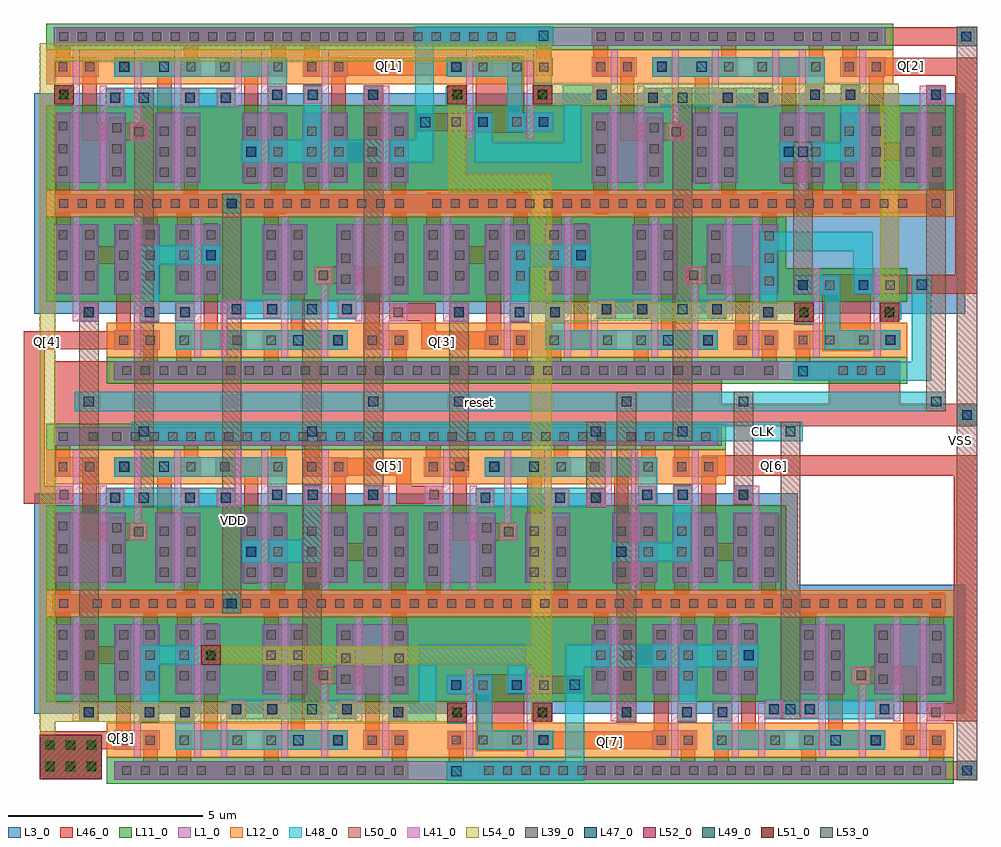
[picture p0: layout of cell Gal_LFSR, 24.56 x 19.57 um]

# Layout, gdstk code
import gdstk
lib = gdstk.Library(unit=1e-6, precision=1e-09)
def R(c, l, rs):  # rectangles x0, y0, x1, y1
    for r in rs: c.add(gdstk.rectangle(r[:2], r[2:], *l))
def A(c, l, x, y, w, h, nx, ny, dx, dy):  # array of equal rectangles
    R(c, l, [(x+i*dx, y+j*dy, x+i*dx+w, y+j*dy+h) for i in range(nx) for j in range(ny)])
def P(c, l, *ps):  # polygons
    for p in ps: c.add(gdstk.Polygon(p, *l))
L1_0 = (1, 0)
L3_0 = (3, 0)
L11_0 = (11, 0)
L12_0 = (12, 0)
L39_0 = (39, 0)
L41_0 = (41, 0)
L46_0 = (46, 0)
L47_0 = (47, 0)
L48_0 = (48, 0)
L49_0 = (49, 0)
L50_0 = (50, 0)
L51_0 = (51, 0)
L52_0 = (52, 0)
L53_0 = (53, 0)
L54_0 = (54, 0)

gal_lfsr = lib.new_cell('Gal_LFSR')
A(gal_lfsr, L1_0, -7.53, 1.21, 1.16, 1.8, 3, 2, 1.56, 10.3)
A(gal_lfsr, L1_0, 6.315, 1.21, 1.16, 1.8, 3, 1, 1.56, 0)
A(gal_lfsr, L1_0, -2.685, 4.08, 1.16, 1.8, 3, 2, 1.56, 10.3)
A(gal_lfsr, L1_0, 6.845, 4.08, 1.16, 1.8, 3, 1, 1.56, 0)
A(gal_lfsr, L1_0, 2, 11.51, 1.16, 1.8, 3, 1, 1.56, 0)
A(gal_lfsr, L1_0, 11.16, 14.38, 1.16, 1.8, 3, 1, 1.56, 0)
R(gal_lfsr, L1_0, [(-5.97,-0.99,-4.81,-0.52), (-5.485,-0.99,1.595,-0.52), (1.575,-0.99,7.965,-0.52), (7.875,-0.99,9.035,-0.52), (8.36,-0.99,15.44,-0.52), (-5.97,-0.22,-4.81,0.28), (-4.41,-0.22,-3,0.28), (-4.125,-0.22,-2.57,0.28), (-2.17,-0.22,-0.865,0.28), (-1.225,-0.22,0.02,0.28), (0.435,-0.22,1.595,0.28), (7.875,-0.22,9.035,0.28), (9.435,-0.22,10.845,0.28), (9.72,-0.22,11.275,0.28), (11.675,-0.22,12.98,0.28), (12.62,-0.22,13.865,0.28), (14.28,-0.22,15.44,0.28), (2.595,-0.205,3.755,0.265), (4.155,-0.205,5.315,0.265), (-2.17,1.21,-1.01,3.01), (-0.255,1.21,1.595,3.01), (2.595,1.21,3.755,1.68), (4.155,1.21,5.315,1.68), (11.675,1.21,12.835,3.01), (13.59,1.21,15.44,3.01), (-7.53,3.31,-6.37,3.78), (-7.445,3.31,-4.81,3.78), (-5.39,3.31,-3.25,3.78), (-4.41,3.31,1.595,3.78), (-2.17,3.31,-1.01,3.78), (1.565,3.31,7.475,3.78), (6.4,3.31,9.035,3.78), (8.455,3.31,10.595,3.78), (9.435,3.31,15.44,3.78), (11.675,3.31,12.835,3.78), (-7.53,4.08,-5.68,5.88), (-4.925,4.08,-3.765,5.88), (2,4.08,3.85,5.88), (4.605,4.08,5.765,5.88), (-7.53,6.81,-6.37,7.31), (-5.955,6.81,-4.71,7.31), (-5.07,6.81,-3.765,7.31), (-3.365,6.81,-1.81,7.31), (-2.935,6.81,-1.525,7.31), (-1.125,6.81,0.035,7.31), (2,6.81,3.16,7.31), (3.575,6.81,4.82,7.31), (4.46,6.81,5.765,7.31), (6.165,6.81,7.72,7.31), (6.595,6.81,8.005,7.31), (8.405,6.81,9.565,7.31), (-7.525,7.61,2.02,8.08), (-1.125,7.61,0.035,8.08), (2,7.61,9.08,8.08), (8.405,7.61,9.565,8.08), (-5.97,9.31,-4.81,9.78), (-5.485,9.31,1.595,9.78), (1.575,9.31,7.965,9.78), (3.56,9.31,4.72,9.78), (4.045,9.31,14.26,9.78), (-5.97,10.08,-4.81,10.58), (-4.41,10.08,-3,10.58), (-4.125,10.08,-2.57,10.58), (-2.17,10.08,-0.865,10.58), (-1.225,10.08,0.02,10.58), (0.435,10.08,1.595,10.58), (3.56,10.08,4.72,10.58), (5.12,10.08,6.53,10.58), (5.405,10.08,6.96,10.58), (7.36,10.08,8.665,10.58), (8.305,10.08,9.55,10.58), (9.965,10.08,11.125,10.58), (11.525,10.095,12.685,10.565), (13.085,10.095,14.245,10.565), (-2.17,11.51,-1.01,13.31), (-0.255,11.51,1.595,13.31), (7.36,11.51,8.52,13.31), (9.275,11.51,11.125,13.31), (11.525,11.51,12.685,11.98), (13.085,11.51,14.245,11.98), (-7.53,13.61,-1.525,14.08), (-4.925,13.61,-3.765,14.08), (-2.685,13.61,-0.545,14.08), (-1.125,13.61,1.51,14.08), (0.435,13.61,6.345,14.08), (2,13.61,8.005,14.08), (4.605,13.61,5.765,14.08), (6.845,13.61,8.985,14.08), (8.405,13.61,15.355,14.08), (9.965,13.61,15.44,14.08), (-7.53,14.38,-5.68,16.18), (-4.925,14.38,-3.765,16.18), (6.315,14.38,8.165,16.18), (8.92,14.38,10.08,16.18), (2.595,15.71,3.755,16.18), (4.155,15.71,5.315,16.18), (-7.53,17.11,-6.37,17.61), (-5.955,17.11,-4.71,17.61), (-5.07,17.11,-3.765,17.61), (-3.365,17.11,-1.81,17.61), (-2.935,17.11,-1.525,17.61), (-1.125,17.11,0.035,17.61), (6.315,17.11,7.475,17.61), (7.89,17.11,9.135,17.61), (8.775,17.11,10.08,17.61), (10.48,17.11,12.035,17.61), (10.91,17.11,12.32,17.61), (12.72,17.11,13.88,17.61), (2.595,17.125,3.755,17.595), (4.155,17.125,5.315,17.595), (-7.53,17.91,-0.45,18.38), (-1.125,17.91,0.035,18.38), (-0.055,17.91,6.335,18.38), (6.315,17.91,13.395,18.38), (12.72,17.91,13.88,18.38)])
R(gal_lfsr, L3_0, [(-8.03,0.71,-5.87,4.03), (-6.47,0.71,-4.31,4.03), (-6.275,0.71,2.095,4.03), (-0.8,0.71,-0.425,4.03), (2.095,0.71,5.815,4.03), (5.815,0.71,7.975,4.03), (7.06,0.71,15.94,4.03), (13.045,0.71,13.42,4.03), (-8.03,3.06,-3.78,6.38), (-4.38,3.06,-2.22,6.38), (-2.22,3.06,1.5,6.38), (1.5,3.06,9.87,6.38), (4.02,3.06,4.395,6.38), (7.905,3.06,10.065,6.38), (9.465,3.06,11.625,6.38), (-8.03,11.01,-5.87,14.33), (-6.47,11.01,-4.31,14.33), (-6.275,11.01,2.095,14.33), (-0.8,11.01,-0.425,14.33), (2.095,11.01,5.815,14.33), (5.815,11.01,7.975,14.33), (7.375,11.01,9.535,14.33), (7.57,11.01,15.94,14.33), (13.045,11.01,13.42,14.33), (-8.03,13.36,0.34,16.68), (-5.51,13.36,-5.135,16.68), (-1.625,13.36,0.535,16.68), (-0.065,13.36,2.095,16.68), (2.095,13.36,5.815,16.68), (5.815,13.36,14.185,16.68), (8.335,13.36,8.71,16.68), (12.22,13.36,14.38,16.68), (13.78,13.36,15.94,16.68)])
R(gal_lfsr, L11_0, [(-6.17,-1.09,-4.61,-0.42), (-4.61,-1.09,1.795,-0.42), (1.71,-1.09,7.79,-0.42), (7.675,-1.09,9.235,-0.42), (9.235,-1.09,15.64,-0.42), (-7.73,1.01,-6.17,3.21), (-6.17,1.01,-4.61,3.21), (-4.61,1.01,-2.69,3.21), (-2.805,1.01,1.795,3.21), (1.75,1.01,7.675,3.21), (2.395,1.01,5.515,1.88), (7.675,1.01,9.235,3.21), (9.235,1.01,11.155,3.21), (11.04,1.01,15.64,3.21), (-7.73,3.88,-3.13,6.08), (-3.245,3.88,-1.325,6.08), (-1.325,3.88,0.235,6.08), (0.235,3.88,2.485,6.08), (1.8,3.88,6.4,6.08), (6.285,3.88,8.205,6.08), (8.205,3.88,9.765,6.08), (9.765,3.88,11.325,6.08), (-7.73,7.51,1.87,8.18), (-1.325,7.51,0.235,8.18), (1.8,7.51,8.205,8.18), (8.205,7.51,9.765,8.18), (-6.17,9.21,-4.61,9.88), (-4.61,9.21,1.795,9.88), (1.71,9.21,7.79,9.88), (3.36,9.21,4.92,9.88), (4.92,9.21,14.445,9.88), (12.115,9.21,13.675,9.88), (-7.73,11.31,-6.17,13.51), (-6.17,11.31,-4.61,13.51), (-4.61,11.31,-2.69,13.51), (-2.805,11.31,1.795,13.51), (1.11,11.31,3.36,13.51), (3.36,11.31,4.92,13.51), (4.92,11.31,6.84,13.51), (6.725,11.31,11.325,13.51), (11.325,11.31,12.885,12.18), (12.885,11.31,14.445,12.18), (-7.73,14.18,-3.13,16.38), (-3.245,14.18,-1.325,16.38), (-1.325,14.18,0.235,16.38), (0.235,14.18,6.16,16.38), (6.115,14.18,10.715,16.38), (10.6,14.18,12.52,16.38), (12.52,14.18,14.08,16.38), (14.08,14.18,15.64,16.38), (2.395,15.51,5.515,16.38), (-7.73,17.81,-1.325,18.48), (-1.325,17.81,0.235,18.48), (0.12,17.81,6.2,18.48), (6.115,17.81,12.52,18.48), (12.52,17.81,14.08,18.48)])
R(gal_lfsr, L12_0, [(-6.17,-0.42,-4.61,0.48), (-4.61,-0.42,-4.325,0.48), (-4.61,-0.42,1.795,0.48), (-4.61,-0.42,-0.665,0.48), (-4.61,-0.42,-2.8,0.48), (1.66,-0.42,7.86,0.48), (7.675,-0.42,9.235,0.48), (9.235,-0.42,9.52,0.48), (9.235,-0.42,15.64,0.48), (9.235,-0.42,13.18,0.48), (9.235,-0.42,11.045,0.48), (-7.73,3.21,-6.17,3.88), (-6.17,3.21,-4.61,3.88), (-4.61,3.21,-2.69,3.88), (-2.8,3.21,1.795,3.88), (1.72,3.21,7.675,3.88), (7.675,3.21,9.235,3.88), (9.235,3.21,11.155,3.88), (11.045,3.21,15.64,3.88), (-7.73,6.61,-1.325,7.51), (-5.27,6.61,-1.325,7.51), (-4.265,6.61,1.935,7.51), (-3.135,6.61,-1.325,7.51), (-1.61,6.61,-1.325,7.51), (-1.325,6.61,0.235,7.51), (1.8,6.61,8.205,7.51), (4.26,6.61,8.205,7.51), (6.395,6.61,8.205,7.51), (7.92,6.61,8.205,7.51), (8.205,6.61,9.765,7.51), (-6.17,9.88,-4.61,10.78), (-4.61,9.88,-4.325,10.78), (-4.61,9.88,1.795,10.78), (-4.61,9.88,-0.665,10.78), (-4.61,9.88,-2.8,10.78), (1.66,9.88,7.86,10.78), (3.36,9.88,4.92,10.78), (4.92,9.88,5.205,10.78), (4.92,9.88,11.325,10.78), (4.92,9.88,8.865,10.78), (4.92,9.88,6.73,10.78), (11.325,9.88,12.885,10.78), (12.885,9.88,14.445,10.78), (-7.73,13.51,-3.135,14.18), (-3.245,13.51,-1.325,14.18), (-1.325,13.51,0.235,14.18), (0.235,13.51,6.19,14.18), (1.8,13.51,6.395,14.18), (6.285,13.51,8.205,14.18), (8.205,13.51,9.765,14.18), (9.765,13.51,15.64,14.18), (-7.73,16.91,-1.325,17.81), (-5.27,16.91,-1.325,17.81), (-3.135,16.91,-1.325,17.81), (-1.61,16.91,-1.325,17.81), (-1.325,16.91,0.235,17.81), (0.05,16.91,6.25,17.81), (6.115,16.91,12.52,17.81), (8.575,16.91,12.52,17.81), (10.71,16.91,12.52,17.81), (12.235,16.91,12.52,17.81), (12.52,16.91,14.08,17.81)])
A(gal_lfsr, L39_0, -5.77, -0.87, 0.23, 0.23, 5, 2, 0.48, 10.3)
A(gal_lfsr, L39_0, -3.09, -0.87, 0.23, 0.23, 10, 1, 0.48, 0)
A(gal_lfsr, L39_0, 3.555, -0.87, 0.23, 0.23, 25, 1, 0.48, 0)
A(gal_lfsr, L39_0, -7.41, 1.575, 0.23, 0.23, 1, 3, 0, 0.525)
A(gal_lfsr, L39_0, -6.72, 1.575, 0.23, 0.23, 1, 3, 0, 0.525)
A(gal_lfsr, L39_0, -5.85, 1.575, 0.23, 0.23, 1, 3, 0, 0.525)
A(gal_lfsr, L39_0, -5.16, 1.575, 0.23, 0.23, 1, 3, 0, 0.525)
A(gal_lfsr, L39_0, -4.29, 1.575, 0.23, 0.23, 1, 3, 0, 0.525)
A(gal_lfsr, L39_0, -3.6, 1.575, 0.23, 0.23, 1, 3, 0, 0.525)
A(gal_lfsr, L39_0, -2.05, 1.575, 0.23, 0.23, 1, 3, 0, 0.525)
A(gal_lfsr, L39_0, -1.36, 1.575, 0.23, 0.23, 1, 3, 0, 0.525)
A(gal_lfsr, L39_0, 6.435, 1.575, 0.23, 0.23, 1, 3, 0, 0.525)
A(gal_lfsr, L39_0, 7.125, 1.575, 0.23, 0.23, 1, 3, 0, 0.525)
A(gal_lfsr, L39_0, 7.995, 1.575, 0.23, 0.23, 1, 3, 0, 0.525)
A(gal_lfsr, L39_0, 8.685, 1.575, 0.23, 0.23, 1, 3, 0, 0.525)
A(gal_lfsr, L39_0, 9.555, 1.575, 0.23, 0.23, 1, 3, 0, 0.525)
A(gal_lfsr, L39_0, 10.245, 1.575, 0.23, 0.23, 1, 3, 0, 0.525)
A(gal_lfsr, L39_0, 11.795, 1.575, 0.23, 0.23, 1, 3, 0, 0.525)
A(gal_lfsr, L39_0, 12.485, 1.575, 0.23, 0.23, 1, 3, 0, 0.525)
A(gal_lfsr, L39_0, -6.525, 3.43, 0.23, 0.23, 46, 1, 0.48, 0)
A(gal_lfsr, L39_0, -4.805, 4.235, 0.23, 0.23, 1, 3, 0, 0.525)
A(gal_lfsr, L39_0, -4.115, 4.235, 0.23, 0.23, 1, 3, 0, 0.525)
A(gal_lfsr, L39_0, -2.565, 4.235, 0.23, 0.23, 1, 3, 0, 0.525)
A(gal_lfsr, L39_0, -1.875, 4.235, 0.23, 0.23, 1, 3, 0, 0.525)
A(gal_lfsr, L39_0, -1.005, 4.235, 0.23, 0.23, 1, 3, 0, 0.525)
A(gal_lfsr, L39_0, -0.315, 4.235, 0.23, 0.23, 1, 3, 0, 0.525)
A(gal_lfsr, L39_0, 0.555, 4.235, 0.23, 0.23, 1, 3, 0, 0.525)
A(gal_lfsr, L39_0, 1.245, 4.235, 0.23, 0.23, 1, 3, 0, 0.525)
A(gal_lfsr, L39_0, 4.725, 4.235, 0.23, 0.23, 1, 3, 0, 0.525)
A(gal_lfsr, L39_0, 5.415, 4.235, 0.23, 0.23, 1, 3, 0, 0.525)
A(gal_lfsr, L39_0, 6.965, 4.235, 0.23, 0.23, 1, 3, 0, 0.525)
A(gal_lfsr, L39_0, 7.655, 4.235, 0.23, 0.23, 1, 3, 0, 0.525)
A(gal_lfsr, L39_0, 8.525, 4.235, 0.23, 0.23, 1, 3, 0, 0.525)
A(gal_lfsr, L39_0, 9.215, 4.235, 0.23, 0.23, 1, 3, 0, 0.525)
A(gal_lfsr, L39_0, 10.085, 4.235, 0.23, 0.23, 1, 3, 0, 0.525)
A(gal_lfsr, L39_0, 10.775, 4.235, 0.23, 0.23, 1, 3, 0, 0.525)
A(gal_lfsr, L39_0, -6.025, 7.73, 0.23, 0.23, 27, 1, 0.48, 0)
A(gal_lfsr, L39_0, 7.215, 7.73, 0.23, 0.23, 3, 1, 0.48, 0)
A(gal_lfsr, L39_0, -3.09, 9.43, 0.23, 0.23, 27, 1, 0.48, 0)
A(gal_lfsr, L39_0, 12.68, 9.43, 0.23, 0.23, 3, 1, 0.48, 0)
A(gal_lfsr, L39_0, -7.41, 11.875, 0.23, 0.23, 1, 3, 0, 0.525)
A(gal_lfsr, L39_0, -6.72, 11.875, 0.23, 0.23, 1, 3, 0, 0.525)
A(gal_lfsr, L39_0, -5.85, 11.875, 0.23, 0.23, 1, 3, 0, 0.525)
A(gal_lfsr, L39_0, -5.16, 11.875, 0.23, 0.23, 1, 3, 0, 0.525)
A(gal_lfsr, L39_0, -4.29, 11.875, 0.23, 0.23, 1, 3, 0, 0.525)
A(gal_lfsr, L39_0, -3.6, 11.875, 0.23, 0.23, 1, 3, 0, 0.525)
A(gal_lfsr, L39_0, -2.05, 11.875, 0.23, 0.23, 1, 3, 0, 0.525)
A(gal_lfsr, L39_0, -1.36, 11.875, 0.23, 0.23, 1, 3, 0, 0.525)
A(gal_lfsr, L39_0, 2.12, 11.875, 0.23, 0.23, 1, 3, 0, 0.525)
A(gal_lfsr, L39_0, 2.81, 11.875, 0.23, 0.23, 1, 3, 0, 0.525)
A(gal_lfsr, L39_0, 3.68, 11.875, 0.23, 0.23, 1, 3, 0, 0.525)
A(gal_lfsr, L39_0, 4.37, 11.875, 0.23, 0.23, 1, 3, 0, 0.525)
A(gal_lfsr, L39_0, 5.24, 11.875, 0.23, 0.23, 1, 3, 0, 0.525)
A(gal_lfsr, L39_0, 5.93, 11.875, 0.23, 0.23, 1, 3, 0, 0.525)
A(gal_lfsr, L39_0, 7.48, 11.875, 0.23, 0.23, 1, 3, 0, 0.525)
A(gal_lfsr, L39_0, 8.17, 11.875, 0.23, 0.23, 1, 3, 0, 0.525)
A(gal_lfsr, L39_0, -7.395, 13.73, 0.23, 0.23, 19, 1, 0.48, 0)
A(gal_lfsr, L39_0, 2.21, 13.73, 0.23, 0.23, 26, 1, 0.48, 0)
A(gal_lfsr, L39_0, -4.805, 14.535, 0.23, 0.23, 1, 3, 0, 0.525)
A(gal_lfsr, L39_0, -4.115, 14.535, 0.23, 0.23, 1, 3, 0, 0.525)
A(gal_lfsr, L39_0, -2.565, 14.535, 0.23, 0.23, 1, 3, 0, 0.525)
A(gal_lfsr, L39_0, -1.875, 14.535, 0.23, 0.23, 1, 3, 0, 0.525)
A(gal_lfsr, L39_0, -1.005, 14.535, 0.23, 0.23, 1, 3, 0, 0.525)
A(gal_lfsr, L39_0, -0.315, 14.535, 0.23, 0.23, 1, 3, 0, 0.525)
A(gal_lfsr, L39_0, 0.555, 14.535, 0.23, 0.23, 1, 3, 0, 0.525)
A(gal_lfsr, L39_0, 1.245, 14.535, 0.23, 0.23, 1, 3, 0, 0.525)
A(gal_lfsr, L39_0, 9.04, 14.535, 0.23, 0.23, 1, 3, 0, 0.525)
A(gal_lfsr, L39_0, 9.73, 14.535, 0.23, 0.23, 1, 3, 0, 0.525)
A(gal_lfsr, L39_0, 11.28, 14.535, 0.23, 0.23, 1, 3, 0, 0.525)
A(gal_lfsr, L39_0, 11.97, 14.535, 0.23, 0.23, 1, 3, 0, 0.525)
A(gal_lfsr, L39_0, 12.84, 14.535, 0.23, 0.23, 1, 3, 0, 0.525)
A(gal_lfsr, L39_0, 13.53, 14.535, 0.23, 0.23, 1, 3, 0, 0.525)
A(gal_lfsr, L39_0, 14.4, 14.535, 0.23, 0.23, 1, 3, 0, 0.525)
A(gal_lfsr, L39_0, 15.09, 14.535, 0.23, 0.23, 1, 3, 0, 0.525)
A(gal_lfsr, L39_0, -7.395, 18.03, 0.23, 0.23, 25, 1, 0.48, 0)
A(gal_lfsr, L39_0, 6.45, 18.03, 0.23, 0.23, 10, 1, 0.48, 0)
A(gal_lfsr, L39_0, 11.53, 18.03, 0.23, 0.23, 5, 1, 0.48, 0)
R(gal_lfsr, L39_0, [(-5.85,-0.09,-5.62,0.14), (-5.16,-0.09,-4.93,0.14), (-4.29,-0.09,-4.06,0.14), (-2.92,-0.09,-2.69,0.14), (-2.05,-0.09,-1.82,0.14), (-0.33,-0.09,-0.1,0.14), (0.555,-0.09,0.785,0.14), (1.245,-0.09,1.475,0.14), (7.995,-0.09,8.225,0.14), (8.685,-0.09,8.915,0.14), (9.555,-0.09,9.785,0.14), (10.925,-0.09,11.155,0.14), (11.795,-0.09,12.025,0.14), (13.515,-0.09,13.745,0.14), (14.4,-0.09,14.63,0.14), (15.09,-0.09,15.32,0.14), (2.715,-0.085,2.945,0.145), (3.405,-0.085,3.635,0.145), (4.275,-0.085,4.505,0.145), (4.965,-0.085,5.195,0.145), (2.735,0.625,2.965,0.855), (-6.745,0.63,-6.515,0.86), (-5.185,0.63,-4.955,0.86), (-4.27,0.63,-4.04,0.86), (1.22,0.63,1.45,0.86), (4.94,0.63,5.17,0.86), (7.1,0.63,7.33,0.86), (8.66,0.63,8.89,0.86), (9.575,0.63,9.805,0.86), (15.065,0.63,15.295,0.86), (-2.945,0.705,-2.715,0.935), (-2.025,0.705,-1.795,0.935), (-0.1,0.705,0.13,0.935), (10.9,0.705,11.13,0.935), (11.82,0.705,12.05,0.935), (13.745,0.705,13.975,0.935), (2.715,1.33,2.945,1.56), (3.405,1.33,3.635,1.56), (4.275,1.33,4.505,1.56), (4.965,1.33,5.195,1.56), (1.245,1.435,1.475,1.665), (15.09,1.435,15.32,1.665), (-0.135,1.48,0.095,1.71), (13.71,1.48,13.94,1.71), (-0.705,1.58,-0.475,1.81), (13.14,1.58,13.37,1.81), (1.245,2.015,1.475,2.245), (15.09,2.015,15.32,2.245), (-0.135,2.025,0.095,2.255), (13.71,2.025,13.94,2.255), (1.245,2.6,1.475,2.83), (15.09,2.6,15.32,2.83), (-0.135,2.61,0.095,2.84), (13.71,2.61,13.94,2.84), (-7.39,3.43,-7.16,3.66), (-6.03,4.25,-5.8,4.48), (3.5,4.25,3.73,4.48), (-7.41,4.26,-7.18,4.49), (2.12,4.26,2.35,4.49), (-6.03,4.835,-5.8,5.065), (3.5,4.835,3.73,5.065), (-7.41,4.845,-7.18,5.075), (2.12,4.845,2.35,5.075), (-5.46,5.28,-5.23,5.51), (4.07,5.28,4.3,5.51), (-6.03,5.38,-5.8,5.61), (3.5,5.38,3.73,5.61), (-7.41,5.425,-7.18,5.655), (2.12,5.425,2.35,5.655), (-6.065,6.155,-5.835,6.385), (-4.14,6.155,-3.91,6.385), (-3.22,6.155,-2.99,6.385), (3.465,6.155,3.695,6.385), (5.39,6.155,5.62,6.385), (6.31,6.155,6.54,6.385), (-7.385,6.23,-7.155,6.46), (-1.895,6.23,-1.665,6.46), (-0.98,6.23,-0.75,6.46), (0.58,6.23,0.81,6.46), (2.145,6.23,2.375,6.46), (7.635,6.23,7.865,6.46), (8.55,6.23,8.78,6.46), (10.11,6.23,10.34,6.46), (-7.41,6.95,-7.18,7.18), (-6.72,6.95,-6.49,7.18), (-5.835,6.95,-5.605,7.18), (-4.115,6.95,-3.885,7.18), (-3.245,6.95,-3.015,7.18), (-1.875,6.95,-1.645,7.18), (-1.005,6.95,-0.775,7.18), (-0.315,6.95,-0.085,7.18), (2.12,6.95,2.35,7.18), (2.81,6.95,3.04,7.18), (3.695,6.95,3.925,7.18), (5.415,6.95,5.645,7.18), (6.285,6.95,6.515,7.18), (7.655,6.95,7.885,7.18), (8.525,6.95,8.755,7.18), (9.215,6.95,9.445,7.18), (-7.4,7.73,-7.17,7.96), (-6.63,7.73,-6.4,7.96), (9.135,7.73,9.365,7.96), (9.995,9.43,10.225,9.66), (10.765,9.43,10.995,9.66), (-5.85,10.21,-5.62,10.44), (-5.16,10.21,-4.93,10.44), (-4.29,10.21,-4.06,10.44), (-2.92,10.21,-2.69,10.44), (-2.05,10.21,-1.82,10.44), (-0.33,10.21,-0.1,10.44), (0.555,10.21,0.785,10.44), (1.245,10.21,1.475,10.44), (3.68,10.21,3.91,10.44), (4.37,10.21,4.6,10.44), (5.24,10.21,5.47,10.44), (6.61,10.21,6.84,10.44), (7.48,10.21,7.71,10.44), (9.2,10.21,9.43,10.44), (10.085,10.21,10.315,10.44), (10.775,10.21,11.005,10.44), (11.645,10.215,11.875,10.445), (12.335,10.215,12.565,10.445), (13.205,10.215,13.435,10.445), (13.895,10.215,14.125,10.445), (-6.745,10.93,-6.515,11.16), (-5.185,10.93,-4.955,11.16), (-4.27,10.93,-4.04,11.16), (1.22,10.93,1.45,11.16), (2.785,10.93,3.015,11.16), (4.345,10.93,4.575,11.16), (5.26,10.93,5.49,11.16), (10.75,10.93,10.98,11.16), (11.67,10.93,11.9,11.16), (11.67,10.93,11.9,11.16), (11.67,10.93,11.9,11.16), (13.87,10.93,14.1,11.16), (13.87,10.93,14.1,11.16), (13.87,10.93,14.1,11.16), (-2.945,11.005,-2.715,11.235), (-2.025,11.005,-1.795,11.235), (-0.1,11.005,0.13,11.235), (6.585,11.005,6.815,11.235), (7.505,11.005,7.735,11.235), (9.43,11.005,9.66,11.235), (11.645,11.63,11.875,11.86), (12.335,11.63,12.565,11.86), (13.205,11.63,13.435,11.86), (13.895,11.63,14.125,11.86), (1.245,11.735,1.475,11.965), (10.775,11.735,11.005,11.965), (-0.135,11.78,0.095,12.01), (9.395,11.78,9.625,12.01), (-0.705,11.88,-0.475,12.11), (8.825,11.88,9.055,12.11), (1.245,12.315,1.475,12.545), (10.775,12.315,11.005,12.545), (-0.135,12.325,0.095,12.555), (9.395,12.325,9.625,12.555), (1.245,12.9,1.475,13.13), (10.775,12.9,11.005,13.13), (-0.135,12.91,0.095,13.14), (9.395,12.91,9.625,13.14), (15.07,13.73,15.3,13.96), (-6.03,14.55,-5.8,14.78), (7.815,14.55,8.045,14.78), (-7.41,14.56,-7.18,14.79), (6.435,14.56,6.665,14.79), (-6.03,15.135,-5.8,15.365), (7.815,15.135,8.045,15.365), (-7.41,15.145,-7.18,15.375), (6.435,15.145,6.665,15.375), (-5.46,15.58,-5.23,15.81), (8.385,15.58,8.615,15.81), (-6.03,15.68,-5.8,15.91), (7.815,15.68,8.045,15.91), (-7.41,15.725,-7.18,15.955), (6.435,15.725,6.665,15.955), (2.715,15.83,2.945,16.06), (3.405,15.83,3.635,16.06), (4.275,15.83,4.505,16.06), (4.965,15.83,5.195,16.06), (-6.065,16.455,-5.835,16.685), (-4.14,16.455,-3.91,16.685), (-3.22,16.455,-2.99,16.685), (7.78,16.455,8.01,16.685), (9.705,16.455,9.935,16.685), (10.625,16.455,10.855,16.685), (-7.385,16.53,-7.155,16.76), (-1.895,16.53,-1.665,16.76), (-0.98,16.53,-0.75,16.76), (0.58,16.53,0.81,16.76), (2.74,16.53,2.97,16.76), (2.74,16.53,2.97,16.76), (4.94,16.53,5.17,16.76), (4.94,16.53,5.17,16.76), (6.46,16.53,6.69,16.76), (11.95,16.53,12.18,16.76), (12.865,16.53,13.095,16.76), (15.07,16.53,15.3,16.76), (2.715,17.245,2.945,17.475), (3.405,17.245,3.635,17.475), (4.275,17.245,4.505,17.475), (4.965,17.245,5.195,17.475), (-7.41,17.25,-7.18,17.48), (-6.72,17.25,-6.49,17.48), (-5.835,17.25,-5.605,17.48), (-4.115,17.25,-3.885,17.48), (-3.245,17.25,-3.015,17.48), (-1.875,17.25,-1.645,17.48), (-1.005,17.25,-0.775,17.48), (-0.315,17.25,-0.085,17.48), (6.435,17.25,6.665,17.48), (7.125,17.25,7.355,17.48), (8.01,17.25,8.24,17.48), (9.73,17.25,9.96,17.48), (10.6,17.25,10.83,17.48), (11.97,17.25,12.2,17.48), (12.84,17.25,13.07,17.48), (13.53,17.25,13.76,17.48)])
R(gal_lfsr, L41_0, [(-5.48,-0.42,-5.3,3.21), (-3.92,-0.42,-3.74,3.21), (-3.24,-0.42,-3.06,0.98), (-1.68,-0.42,-1.5,3.21), (-0.65,-0.42,-0.47,1.93), (0.925,-0.42,1.105,3.21), (3.085,-0.42,3.265,1.88), (8.365,-0.42,8.545,3.21), (9.925,-0.42,10.105,3.21), (10.605,-0.42,10.785,0.98), (12.165,-0.42,12.345,3.21), (13.195,-0.42,13.375,1.93), (14.77,-0.42,14.95,3.21), (2.615,0.505,3.085,0.975), (-7.04,0.51,-6.86,3.21), (-6.865,0.51,-6.395,0.98), (-5.305,0.51,-4.835,0.98), (-4.39,0.51,-3.92,0.98), (0.235,0.51,0.415,3.21), (1.1,0.51,1.57,0.98), (6.805,0.51,6.985,3.21), (6.98,0.51,7.45,0.98), (8.54,0.51,9.01,0.98), (9.455,0.51,9.925,0.98), (14.08,0.51,14.26,3.21), (14.945,0.51,15.415,0.98), (-3.065,0.585,-2.595,1.055), (-2.145,0.585,-1.675,1.055), (-0.22,0.585,0.25,1.055), (10.78,0.585,11.25,1.055), (11.7,0.585,12.17,1.055), (13.625,0.585,14.095,1.055), (-0.825,1.46,-0.355,1.93), (13.02,1.46,13.49,1.93), (-7.04,3.88,-6.86,7.51), (-6.35,3.88,-6.17,6.58), (-4.435,3.88,-4.255,7.51), (-2.195,3.88,-2.015,7.51), (-0.635,3.88,-0.455,7.51), (0.925,3.88,1.105,6.58), (2.49,3.88,2.67,7.51), (3.18,3.88,3.36,6.58), (5.095,3.88,5.275,7.51), (7.335,3.88,7.515,7.51), (8.895,3.88,9.075,7.51), (10.455,3.88,10.635,6.58), (-5.58,5.16,-5.11,5.63), (-5.465,5.16,-5.285,7.51), (3.95,5.16,4.42,5.63), (4.065,5.16,4.245,7.51), (-6.185,6.035,-5.715,6.505), (-4.26,6.035,-3.79,6.505), (-3.34,6.035,-2.87,6.505), (-2.875,6.035,-2.695,7.51), (3.345,6.035,3.815,6.505), (5.27,6.035,5.74,6.505), (6.19,6.035,6.66,6.505), (6.655,6.035,6.835,7.51), (-7.505,6.11,-7.035,6.58), (-2.015,6.11,-1.545,6.58), (-1.1,6.11,-0.63,6.58), (0.46,6.11,0.93,6.58), (2.025,6.11,2.495,6.58), (7.515,6.11,7.985,6.58), (8.43,6.11,8.9,6.58), (9.99,6.11,10.46,6.58), (-5.48,9.88,-5.3,13.51), (-3.92,9.88,-3.74,13.51), (-3.24,9.88,-3.06,11.355), (-1.68,9.88,-1.5,13.51), (-0.65,9.88,-0.47,12.23), (0.925,9.88,1.105,13.51), (4.05,9.88,4.23,13.51), (5.61,9.88,5.79,13.51), (6.29,9.88,6.47,11.355), (7.85,9.88,8.03,13.51), (8.88,9.88,9.06,12.23), (10.455,9.88,10.635,13.51), (12.015,9.88,12.195,12.18), (13.575,9.88,13.755,12.18), (-7.04,10.81,-6.86,13.51), (-6.865,10.81,-6.395,11.28), (-5.305,10.81,-4.835,11.28), (-4.39,10.81,-3.92,11.28), (0.235,10.81,0.415,13.51), (1.1,10.81,1.57,11.28), (2.49,10.81,2.67,13.51), (2.665,10.81,3.135,11.28), (4.225,10.81,4.695,11.28), (5.14,10.81,5.61,11.28), (9.765,10.81,9.945,13.51), (10.63,10.81,11.1,11.28), (11.55,10.81,12.02,11.28), (11.55,10.81,12.02,11.28), (13.75,10.81,14.22,11.28), (13.75,10.81,14.22,11.28), (-3.065,10.885,-2.595,11.355), (-2.145,10.885,-1.675,11.355), (-0.22,10.885,0.25,11.355), (6.465,10.885,6.935,11.355), (7.385,10.885,7.855,11.355), (9.31,10.885,9.78,11.355), (-0.825,11.76,-0.355,12.23), (8.705,11.76,9.175,12.23), (-7.04,14.18,-6.86,17.81), (-6.35,14.18,-6.17,16.88), (-4.435,14.18,-4.255,17.81), (-2.195,14.18,-2.015,17.81), (-0.635,14.18,-0.455,17.81), (0.925,14.18,1.105,16.88), (6.805,14.18,6.985,17.81), (7.495,14.18,7.675,16.88), (9.41,14.18,9.59,17.81), (11.65,14.18,11.83,17.81), (13.21,14.18,13.39,17.81), (14.77,14.18,14.95,16.88), (-5.58,15.46,-5.11,15.93), (-5.465,15.46,-5.285,17.81), (8.265,15.46,8.735,15.93), (8.38,15.46,8.56,17.81), (-6.185,16.335,-5.715,16.805), (-4.26,16.335,-3.79,16.805), (-3.34,16.335,-2.87,16.805), (-2.875,16.335,-2.695,17.81), (7.66,16.335,8.13,16.805), (9.585,16.335,10.055,16.805), (10.505,16.335,10.975,16.805), (10.97,16.335,11.15,17.81), (-7.505,16.41,-7.035,16.88), (-2.015,16.41,-1.545,16.88), (-1.1,16.41,-0.63,16.88), (0.46,16.41,0.93,16.88), (2.62,16.41,3.09,16.88), (4.82,16.41,5.29,16.88), (6.34,16.41,6.81,16.88), (11.83,16.41,12.3,16.88), (12.745,16.41,13.215,16.88), (14.95,16.41,15.42,16.88)])
P(gal_lfsr, L41_0, [(4.645,-0.42),(4.645,1.88),(4.825,1.88),(4.825,0.98),(5.29,0.98),(5.29,0.51),(4.825,0.51),(4.825,-0.42)],
  [(3.265,17.81),(3.265,15.51),(3.085,15.51),(3.085,16.41),(2.62,16.41),(2.62,16.88),(3.085,16.88),(3.085,17.81)],
  [(4.825,17.81),(4.825,16.88),(5.29,16.88),(5.29,16.41),(4.825,16.41),(4.825,15.51),(4.645,15.51),(4.645,17.81)])
R(gal_lfsr, L46_0, [(2.64,-1.025,3.02,0.265), (-5.975,-0.99,1.595,-0.52), (1.17,-0.99,1.55,0.265), (3.415,-0.99,16.25,-0.52), (15.015,-0.99,15.395,0.265), (-7.9,-0.98,-6.295,0.165), (-5.235,-0.98,-4.855,0.265), (8.61,-0.98,8.99,0.265), (-4.375,-0.97,-3.995,0.26), (-2.125,-0.97,-1.745,0.26), (9.47,-0.97,9.85,0.26), (11.72,-0.97,12.1,0.26), (3.33,-0.26,4.58,1.72), (-1.435,-0.215,-1.065,3.03), (4.85,-0.215,5.31,0.265), (12.41,-0.215,12.78,3.03), (-7.9,-0.21,-5.57,0.26), (-7.89,-0.21,-5.56,0.26), (-5.925,-0.21,-5.545,3.01), (5.235,-0.21,8.275,0.26), (7.92,-0.21,8.3,3.01), (0.49,-0.205,0.86,1.925), (14.335,-0.205,14.705,1.925), (-3.71,-0.195,-2.565,0.27), (-1.435,-0.195,0.01,0.27), (10.135,-0.195,11.28,0.27), (12.41,-0.195,13.855,0.27), (-3.67,-0.18,-3.305,3.04), (10.175,-0.18,10.54,3.04), (2.615,0.505,3.085,0.975), (-6.865,0.51,-6.395,0.98), (-5.305,0.51,-4.835,0.98), (-4.39,0.51,-3.92,0.98), (1.1,0.51,1.57,0.98), (4.82,0.51,5.29,0.98), (4.82,0.51,5.29,0.98), (6.98,0.51,7.45,0.98), (8.54,0.51,9.01,0.98), (9.455,0.51,9.925,0.98), (14.945,0.51,16.25,0.98), (15.64,0.51,16.25,7.22), (-3.065,0.585,-2.595,1.055), (-2.145,0.585,-1.675,1.055), (-0.22,0.585,0.25,1.055), (10.78,0.585,11.25,1.055), (11.7,0.585,12.17,1.055), (13.625,0.585,14.095,1.055), (2.605,1.22,3.055,1.67), (-6.795,1.225,-6.415,3.01), (4.89,1.225,6.13,1.68), (7.05,1.225,7.43,3.01), (-7.475,1.25,-7.095,3.83), (-5.235,1.25,-4.855,3.755), (-4.365,1.25,-3.985,3.83), (1.17,1.25,1.55,3.76), (6.37,1.25,6.75,3.77), (8.61,1.25,8.99,3.76), (9.48,1.25,9.86,3.775), (15.015,1.25,15.395,3.83), (-2.125,1.325,-1.745,3.78), (-0.205,1.325,0.175,3.02), (11.72,1.325,12.1,3.78), (13.64,1.325,14.02,3.02), (-0.825,1.46,0.86,1.93), (13.02,1.46,14.705,1.93), (-6.775,1.975,-5.57,2.445), (7.07,1.975,8.275,2.445), (-3.72,1.98,-3.25,2.45), (-7.485,3.26,-7.105,5.84), (10.69,3.26,11.07,5.84), (-7.57,3.31,1.595,3.78), (-4.19,3.31,-3.81,5.765), (1.57,3.31,15.395,3.78), (5.34,3.31,5.72,5.765), (7.58,3.31,7.96,5.84), (8.45,3.315,8.83,5.84), (1.16,3.345,1.54,5.84), (-1.08,3.35,-0.7,5.84), (-1.95,3.355,-1.57,5.84), (2.045,3.355,2.425,5.84), (-2.63,4.05,-2.265,7.27), (6.9,4.05,7.265,7.27), (3.42,4.07,3.8,5.765), (4.66,4.075,5.03,7.305), (-0.39,4.08,-0.01,7.3), (0.48,4.08,0.86,5.865), (9.14,4.08,9.52,7.3), (10.01,4.08,10.39,5.865), (-6.11,4.095,-5.73,5.765), (-4.87,4.095,-4.5,7.305), (-0.365,4.645,0.84,5.115), (9.165,4.645,10.37,5.115), (-6.795,5.16,-5.11,5.63), (2.735,5.16,4.42,5.63), (-6.795,5.165,-6.425,7.295), (2.735,5.165,3.105,7.295), (-6.185,6.035,-5.715,6.505), (-4.26,6.035,-3.79,6.505), (-3.34,6.035,-2.87,6.505), (3.345,6.035,3.815,6.505), (5.27,6.035,5.74,6.505), (6.19,6.035,6.66,6.505), (-8.31,6.11,-7.765,10.56), (-7.91,6.11,-7.035,6.58), (-2.015,6.11,-1.545,6.58), (-1.1,6.11,-0.63,6.58), (0.46,6.11,0.93,6.58), (1.29,6.11,1.67,7.3), (1.33,6.11,2.495,6.58), (7.515,6.11,7.985,6.58), (8.43,6.11,8.9,6.58), (9.99,6.11,10.46,6.58), (-5.945,6.82,-4.5,7.285), (-3.37,6.82,-2.225,7.285), (3.585,6.82,5.03,7.285), (6.16,6.82,7.305,7.285), (-7.485,6.825,-7.105,8.08), (-1.08,6.825,-0.7,8.07), (2.045,6.825,2.425,8.08), (8.45,6.825,8.83,8.07), (-4.19,6.83,-3.81,8.06), (-1.94,6.83,-1.56,8.06), (-0.365,6.83,1.665,7.3), (5.34,6.83,5.72,8.06), (7.59,6.83,7.97,8.06), (9.165,6.83,16.25,7.36), (-7.525,7.61,0.175,8.08), (-0.765,7.61,9.67,8.08), (-7.525,7.675,9.67,9.78), (9.295,8.11,16.25,8.685), (12.42,8.53,14.265,9.78), (11.57,9.275,11.95,10.565), (1.17,9.31,1.55,10.565), (3.415,9.31,11.12,9.78), (10.7,9.31,11.08,10.565), (-5.235,9.32,-4.855,10.565), (4.295,9.32,4.675,10.565), (-4.375,9.33,-3.995,10.56), (-2.125,9.33,-1.745,10.56), (5.155,9.33,5.535,10.56), (7.405,9.33,7.785,10.56), (12.26,10.04,13.51,12.02), (-1.435,10.085,-1.065,13.315), (8.095,10.085,8.465,13.33), (13.78,10.085,14.24,10.565), (-8.225,10.09,-5.57,10.56), (-5.925,10.09,-5.545,13.31), (1.925,10.09,2.305,11.28), (1.93,10.09,3.96,10.56), (3.605,10.09,3.985,13.31), (0.49,10.095,0.86,12.225), (10.02,10.095,10.39,12.225), (-3.71,10.105,-2.565,10.57), (-1.435,10.105,0.01,10.57), (5.82,10.105,6.965,10.57), (8.095,10.105,9.54,10.57), (-3.67,10.12,-3.305,13.34), (5.86,10.12,6.225,13.34), (-6.865,10.81,-6.395,11.28), (-5.305,10.81,-4.835,11.28), (-4.39,10.81,-3.92,11.28), (1.1,10.81,2.265,11.28), (2.665,10.81,3.135,11.28), (4.225,10.81,4.695,11.28), (5.14,10.81,5.61,11.28), (10.63,10.81,11.1,11.28), (11.55,10.81,12.02,11.28), (11.55,10.81,12.02,11.28), (11.55,10.81,12.02,11.28), (13.75,10.81,14.22,11.28), (13.75,10.81,14.22,11.28), (13.75,10.81,14.22,11.28), (-3.065,10.885,-2.595,11.355), (-2.145,10.885,-1.675,11.355), (-0.22,10.885,0.25,11.355), (6.465,10.885,6.935,11.355), (7.385,10.885,7.855,11.355), (9.31,10.885,9.78,11.355), (11.535,11.52,11.985,11.97), (-6.795,11.525,-6.415,13.31), (2.735,11.525,3.115,13.31), (13.81,11.525,16.25,12.01), (15.685,11.525,16.25,17.6), (-7.475,11.55,-7.095,14.13), (-5.235,11.55,-4.855,14.075), (-4.365,11.55,-3.985,14.08), (1.17,11.55,1.55,14.13), (2.055,11.55,2.435,14.13), (4.295,11.55,4.675,14.13), (5.165,11.55,5.545,14.13), (10.7,11.55,11.08,14.13), (-2.125,11.625,-1.745,14.08), (-0.205,11.625,0.175,13.32), (7.405,11.625,7.785,14.08), (9.325,11.625,9.705,13.32), (-0.825,11.76,0.86,12.23), (8.705,11.76,10.39,12.23), (-6.775,12.275,-5.57,12.745), (2.755,12.275,3.96,12.745), (-7.485,13.56,-7.105,16.14), (-1.95,13.56,-1.57,16.14), (1.16,13.56,1.54,16.14), (6.36,13.56,6.74,16.14), (11.895,13.56,12.275,16.14), (12.765,13.56,13.145,16.14), (15.005,13.56,15.385,16.14), (-7.53,13.61,6.34,14.08), (-4.19,13.61,-3.81,16.065), (-1.08,13.61,-0.7,16.14), (2,13.61,15.44,14.08), (9.655,13.61,10.035,16.065), (-2.63,14.35,-2.265,17.57), (11.215,14.35,11.58,17.57), (8.975,14.36,9.345,17.605), (-6.11,14.37,-5.73,16.065), (7.735,14.37,8.115,16.065), (-4.87,14.38,-4.5,17.605), (-0.39,14.38,-0.01,17.6), (0.48,14.38,0.86,16.165), (13.455,14.38,13.835,17.6), (14.325,14.38,14.705,16.165), (-0.365,14.945,0.84,15.415), (13.48,14.945,14.685,15.415), (-6.795,15.46,-5.11,15.93), (7.05,15.46,8.735,15.93), (-6.795,15.465,-6.425,17.595), (7.05,15.465,7.42,17.595), (3.33,15.67,4.58,17.65), (1.78,15.71,3.02,16.165), (4.855,15.72,5.305,16.17), (-6.185,16.335,-5.715,16.805), (-4.26,16.335,-3.79,16.805), (-3.34,16.335,-2.87,16.805), (7.66,16.335,8.13,16.805), (9.585,16.335,10.055,16.805), (10.505,16.335,10.975,16.805), (-7.505,16.41,-7.035,16.88), (-2.015,16.41,-1.545,16.88), (-1.1,16.41,-0.63,16.88), (0.46,16.41,0.93,16.88), (2.62,16.41,3.09,16.88), (2.62,16.41,3.09,16.88), (4.82,16.41,5.29,16.88), (4.82,16.41,5.29,16.88), (6.34,16.41,6.81,16.88), (11.83,16.41,12.3,16.88), (12.745,16.41,13.215,16.88), (14.95,16.41,15.42,16.88), (-5.945,17.12,-4.5,17.585), (-3.37,17.12,-2.225,17.585), (7.9,17.12,9.345,17.585), (10.475,17.12,11.62,17.585), (-7.485,17.125,-7.105,18.38), (-1.08,17.125,-0.7,18.37), (2.6,17.125,3.06,17.605), (4.89,17.125,5.27,18.415), (6.36,17.125,6.74,18.38), (12.765,17.125,13.145,18.37), (-4.19,17.13,-3.81,18.36), (-1.94,17.13,-1.56,18.36), (-0.365,17.13,2.675,17.6), (9.655,17.13,10.035,18.36), (11.905,17.13,12.285,18.36), (13.48,17.13,15.81,17.6), (-7.53,17.91,4.495,18.38), (6.315,17.91,16.25,18.38)])
R(gal_lfsr, L47_0, [(2.705,-0.9,2.955,-0.65), (15.86,-0.88,16.11,-0.63), (-7.755,-0.775,-7.505,-0.525), (-7.225,-0.775,-6.975,-0.525), (-6.69,-0.775,-6.44,-0.525), (-7.755,-0.22,-7.505,0.03), (-7.225,-0.22,-6.975,0.03), (-6.69,-0.22,-6.44,0.03), (-1.365,-0.1,-1.115,0.15), (-0.34,-0.1,-0.09,0.15), (12.48,-0.1,12.73,0.15), (13.505,-0.1,13.755,0.15), (4.955,-0.095,5.205,0.155), (2.725,0.615,2.975,0.865), (-6.755,0.62,-6.505,0.87), (-5.195,0.62,-4.945,0.87), (-4.28,0.62,-4.03,0.87), (1.21,0.62,1.46,0.87), (4.93,0.62,5.18,0.87), (7.09,0.62,7.34,0.87), (8.65,0.62,8.9,0.87), (9.565,0.62,9.815,0.87), (-2.955,0.695,-2.705,0.945), (-2.035,0.695,-1.785,0.945), (-0.11,0.695,0.14,0.945), (10.89,0.695,11.14,0.945), (11.81,0.695,12.06,0.945), (13.735,0.695,13.985,0.945), (2.705,1.32,2.955,1.57), (4.265,1.32,4.515,1.57), (5.755,1.33,6.005,1.58), (-3.61,2.09,-3.36,2.34), (-3.61,2.09,-3.36,2.34), (10.235,2.09,10.485,2.34), (-3.075,3.42,-2.825,3.67), (-2.575,4.75,-2.325,5), (6.955,4.75,7.205,5), (-6.075,6.145,-5.825,6.395), (-4.15,6.145,-3.9,6.395), (-3.23,6.145,-2.98,6.395), (3.455,6.145,3.705,6.395), (5.38,6.145,5.63,6.395), (6.3,6.145,6.55,6.395), (-1.905,6.22,-1.655,6.47), (-0.99,6.22,-0.74,6.47), (0.57,6.22,0.82,6.47), (7.625,6.22,7.875,6.47), (8.54,6.22,8.79,6.47), (10.1,6.22,10.35,6.47), (-5.845,6.94,-5.595,7.19), (-4.82,6.94,-4.57,7.19), (3.685,6.94,3.935,7.19), (4.71,6.94,4.96,7.19), (15.855,8.275,16.105,8.525), (11.635,9.4,11.885,9.65), (-1.365,10.2,-1.115,10.45), (-0.34,10.2,-0.09,10.45), (8.165,10.2,8.415,10.45), (9.19,10.2,9.44,10.45), (13.885,10.205,14.135,10.455), (-6.755,10.92,-6.505,11.17), (-5.195,10.92,-4.945,11.17), (-4.28,10.92,-4.03,11.17), (2.775,10.92,3.025,11.17), (4.335,10.92,4.585,11.17), (5.25,10.92,5.5,11.17), (10.74,10.92,10.99,11.17), (11.66,10.92,11.91,11.17), (13.86,10.92,14.11,11.17), (-2.955,10.995,-2.705,11.245), (-2.035,10.995,-1.785,11.245), (-0.11,10.995,0.14,11.245), (6.575,10.995,6.825,11.245), (7.495,10.995,7.745,11.245), (9.42,10.995,9.67,11.245), (11.635,11.62,11.885,11.87), (13.195,11.62,13.445,11.87), (14.69,11.628,14.94,11.878), (-3.61,12.39,-3.36,12.64), (5.92,12.39,6.17,12.64), (-3.075,13.72,-2.825,13.97), (-2.575,15.05,-2.325,15.3), (11.27,15.05,11.52,15.3), (1.905,15.81,2.155,16.06), (3.395,15.82,3.645,16.07), (4.955,15.82,5.205,16.07), (-6.075,16.445,-5.825,16.695), (-4.15,16.445,-3.9,16.695), (-3.23,16.445,-2.98,16.695), (7.77,16.445,8.02,16.695), (9.695,16.445,9.945,16.695), (10.615,16.445,10.865,16.695), (-7.395,16.52,-7.145,16.77), (-1.905,16.52,-1.655,16.77), (-0.99,16.52,-0.74,16.77), (0.57,16.52,0.82,16.77), (2.73,16.52,2.98,16.77), (4.93,16.52,5.18,16.77), (6.45,16.52,6.7,16.77), (11.94,16.52,12.19,16.77), (12.855,16.52,13.105,16.77), (15.06,16.52,15.31,16.77), (2.705,17.235,2.955,17.485), (-5.845,17.24,-5.595,17.49), (-4.82,17.24,-4.57,17.49), (8,17.24,8.25,17.49), (9.025,17.24,9.275,17.49), (15.84,18.02,16.09,18.27), (4.955,18.04,5.205,18.29)])
R(gal_lfsr, L48_0, [(15.735,-1.005,16.235,-0.505), (-7.9,-0.98,-6.295,0.165), (-4.405,-0.225,0.035,0.275), (-1.49,-0.225,-0.99,0.275), (9.44,-0.225,13.88,0.275), (12.355,-0.225,12.855,0.275), (-4.405,-0.215,-3.905,0.995), (9.44,-0.215,9.94,0.995), (2.6,0.45,3.1,0.95), (-5.32,0.485,-4.82,2.465), (8.525,0.485,9.025,2.465), (-6.88,0.495,-6.38,0.995), (1.08,0.495,2.31,0.995), (1.86,0.495,2.31,2.49), (6.965,0.495,7.465,0.995), (4.805,0.535,5.305,1.035), (-3.085,0.57,0.265,1.07), (10.76,0.57,14.11,1.07), (4.14,1.23,4.615,2.49), (5.665,1.905,10.61,2.49), (-5.31,1.965,-3.235,2.465), (-3.735,1.965,-3.235,2.465), (1.88,1.965,4.555,2.49), (-3.2,3.295,-2.7,3.795), (-2.7,4.6,-0.65,5.185), (-1.115,4.625,-0.615,6.605), (6.83,4.625,8.905,5.125), (8.415,4.625,8.915,6.605), (-6.2,6.02,-2.85,6.52), (3.33,6.02,6.68,6.52), (-2.03,6.095,-1.53,7.305), (0.445,6.095,0.945,6.595), (7.5,6.095,8,7.305), (9.975,6.095,10.475,6.595), (-5.97,6.815,-1.53,7.315), (-4.945,6.815,-4.445,7.315), (3.56,6.815,8,7.315), (4.585,6.815,5.085,7.315), (-5.525,7.725,11.75,8.225), (15.73,8.15,16.23,8.65), (-6.99,8.5,15.44,9), (11.51,9.275,15.065,9.775), (14.565,9.308,15.065,12.003), (-4.405,10.075,0.035,10.575), (-1.49,10.075,-0.99,10.575), (5.125,10.075,9.565,10.575), (8.04,10.075,8.54,10.575), (12.32,10.075,12.72,11.56), (12.625,10.075,14.26,10.575), (-4.405,10.085,-3.905,11.295), (5.125,10.085,5.625,11.295), (11.535,10.72,12.035,11.22), (-5.32,10.785,-4.82,12.765), (4.21,10.785,4.71,12.765), (-6.88,10.795,-6.38,11.295), (2.65,10.795,3.15,11.295), (10.63,10.81,11.1,12.915), (13.735,10.85,14.295,11.31), (-3.085,10.87,0.265,11.37), (6.445,10.87,9.795,11.37), (11.51,11.495,12.72,11.995), (13.055,11.52,13.55,13.115), (4.245,12.205,6.295,12.79), (-5.31,12.265,-3.235,12.765), (10.63,12.615,13.355,13.115), (-3.2,13.595,-2.7,14.095), (-2.7,14.9,2.245,15.485), (3.305,14.9,3.77,16.175), (3.355,14.9,6.03,15.425), (5.6,14.9,6.05,16.895), (-1.115,14.925,-0.615,16.905), (11.145,14.925,13.22,15.425), (11.51,14.925,12.01,15.425), (12.73,14.925,13.23,16.905), (-6.2,16.32,-2.85,16.82), (7.645,16.32,10.995,16.82), (2.565,16.37,3.105,16.845), (-7.52,16.395,-7.02,16.895), (-2.03,16.395,-1.53,17.605), (0.445,16.395,0.945,16.895), (5.575,16.395,6.83,16.895), (11.815,16.395,12.315,17.605), (14.935,16.395,15.435,16.895), (4.805,16.45,5.305,16.95), (-5.97,17.115,-1.53,17.615), (-4.945,17.115,-4.445,17.615), (7.875,17.115,12.315,17.615), (8.9,17.115,9.4,17.615), (15.715,17.895,16.25,18.395)])
P(gal_lfsr, L48_0, [(2.58,-1.025),(2.58,-0.525),(5.635,-0.525),(5.635,2.49),(6.13,2.49),(6.13,-1.025)],
  [(3.37,-0.225),(3.37,1.22),(2.58,1.22),(2.58,1.695),(3.76,1.695),(3.76,0.265),(5.33,0.265),(5.33,-0.225)],
  [(4.535,17.615),(4.535,16.18),(5.33,16.18),(5.33,15.695),(4.15,15.695),(4.15,17.115),(2.58,17.115),(2.58,17.615)],
  [(5.33,18.415),(5.33,17.915),(2.25,17.915),(2.25,14.9),(1.78,14.9),(1.78,18.415)])
R(gal_lfsr, L49_0, [(15.86,-0.88,16.11,-0.63), (-7.755,-0.775,-7.505,-0.525), (-7.225,-0.775,-6.975,-0.525), (-6.69,-0.775,-6.44,-0.525), (-7.755,-0.22,-7.505,0.03), (-7.225,-0.22,-6.975,0.03), (-6.69,-0.22,-6.44,0.03), (2.725,0.615,2.975,0.865), (-6.755,0.62,-6.505,0.87), (4.93,0.62,5.18,0.87), (7.09,0.62,7.34,0.87), (-1.01,0.695,-0.76,0.945), (11.31,0.695,11.56,0.945), (-3.61,2.09,-3.36,2.34), (-3.075,3.42,-2.825,3.67), (-5.34,6.145,-5.09,6.395), (6.3,6.145,6.55,6.395), (0.57,6.22,0.82,6.47), (10.1,6.22,10.35,6.47), (-5.34,7.85,-5.09,8.1), (-1.01,7.85,-0.76,8.1), (6.3,7.85,6.55,8.1), (8.53,7.85,8.78,8.1), (11.31,7.85,11.56,8.1), (15.855,8.275,16.105,8.525), (-6.755,8.625,-6.505,8.875), (0.57,8.625,0.82,8.875), (2.775,8.625,3.025,8.875), (7.09,8.625,7.34,8.875), (10.1,8.625,10.35,8.875), (15.065,8.625,15.315,8.875), (-6.755,10.92,-6.505,11.17), (2.775,10.92,3.025,11.17), (11.66,10.92,11.91,11.17), (13.86,10.92,14.11,11.17), (-1.01,10.995,-0.76,11.245), (8.53,10.995,8.78,11.245), (11.635,11.62,11.885,11.87), (-3.075,13.72,-2.825,13.97), (11.635,15.05,11.885,15.3), (-5.34,16.445,-5.09,16.695), (8.53,16.445,8.78,16.695), (-7.395,16.52,-7.145,16.77), (0.57,16.52,0.82,16.77), (2.73,16.52,2.98,16.77), (4.93,16.52,5.18,16.77), (15.06,16.52,15.31,16.77), (15.84,18.02,16.09,18.27)])
R(gal_lfsr, L50_0, [(15.715,-1.005,16.25,18.4), (-7.9,-0.98,-6.295,0.165), (2.6,0.49,3.1,0.99), (6.965,0.49,7.465,9), (-6.88,0.495,-6.38,11.295), (4.805,0.495,5.305,0.995), (-1.135,0.57,-0.635,11.37), (11.185,0.57,11.685,8.225), (-3.735,1.965,-3.235,2.465), (-3.2,3.295,-2.7,14.095), (-5.465,6.02,-4.965,16.82), (6.175,6.02,6.675,8.225), (0.445,6.085,0.945,16.895), (9.975,6.09,10.475,9), (2.65,6.97,3.15,11.295), (8.41,7.725,8.91,16.825), (14.935,8.5,15.435,16.895), (11.535,10.72,12.035,11.22), (13.735,10.795,14.235,11.295), (11.51,11.49,12.01,15.43), (-7.52,16.395,-7.02,16.895), (2.605,16.395,3.105,16.895), (4.805,16.395,5.305,16.895)])
R(gal_lfsr, L51_0, [(-7.755,-0.775,-7.505,-0.525), (-7.225,-0.775,-6.975,-0.525), (-6.69,-0.775,-6.44,-0.525), (-7.755,-0.22,-7.505,0.03), (-7.225,-0.22,-6.975,0.03), (-6.69,-0.22,-6.44,0.03), (2.725,0.615,2.975,0.865), (4.93,0.62,5.18,0.87), (-3.61,2.09,-3.36,2.34), (11.66,10.92,11.91,11.17), (13.86,10.92,14.11,11.17), (-7.395,16.52,-7.145,16.77), (2.73,16.52,2.98,16.77), (4.93,16.52,5.18,16.77)])
R(gal_lfsr, L52_0, [(-7.9,-0.98,-6.295,0.165), (2.6,0.49,3.1,0.99), (4.805,0.495,5.305,0.995), (-3.735,1.965,-3.235,2.465), (11.535,10.795,12.035,11.295), (13.735,10.795,14.235,11.295), (-7.52,16.395,-7.02,16.895), (2.605,16.395,3.105,16.895), (4.805,16.395,5.305,16.895)])
R(gal_lfsr, L53_0, [(-7.755,-0.775,-7.505,-0.525), (-7.225,-0.775,-6.975,-0.525), (-6.69,-0.775,-6.44,-0.525), (-7.755,-0.22,-7.505,0.03), (-7.225,-0.22,-6.975,0.03), (-6.69,-0.22,-6.44,0.03), (2.725,0.615,2.975,0.865), (4.93,0.62,5.18,0.87), (-3.61,2.09,-3.36,2.34), (11.66,10.92,11.91,11.17), (13.86,10.92,14.11,11.17), (-7.395,16.52,-7.145,16.77), (2.73,16.52,2.98,16.77), (4.93,16.52,5.18,16.77)])
R(gal_lfsr, L54_0, [(-7.9,-0.98,-6.295,0.165), (-7.9,0.14,-7.495,17.975), (-7.79,0.505,3.085,0.975), (4.765,0.51,5.29,14.575), (-3.72,1.98,5.265,2.45), (13.75,10.795,14.22,16.88), (4.96,10.808,12.02,11.283), (2.62,14.14,3.09,16.88), (2.63,14.14,5.29,14.615), (4.895,16.405,14.22,16.925), (-7.505,16.41,-7.035,16.88), (4.82,16.41,5.29,17.975), (-7.505,17.505,5.27,17.975)])
gal_lfsr.add(gdstk.Label('Q[6]', (11.035,7.09), layer=101, texttype=0))
gal_lfsr.add(gdstk.Label('Q[5]', (1.11,7.09), layer=101, texttype=0))
gal_lfsr.add(gdstk.Label('Q[7]', (6.8,0), layer=101, texttype=0))
gal_lfsr.add(gdstk.Label('Q[4]', (-7.685,10.3), layer=101, texttype=0))
gal_lfsr.add(gdstk.Label('Q[3]', (2.485,10.3), layer=101, texttype=0))
gal_lfsr.add(gdstk.Label('Q[2]', (14.565,17.39), layer=101, texttype=0))
gal_lfsr.add(gdstk.Label('Q[1]', (1.11,17.39), layer=101, texttype=0))
gal_lfsr.add(gdstk.Label('Q[8]', (-5.79,0.085), layer=101, texttype=0))
gal_lfsr.add(gdstk.Label('reset', (3.425,8.71), layer=102, texttype=0))
gal_lfsr.add(gdstk.Label('CLK', (10.735,7.975), layer=102, texttype=0))
gal_lfsr.add(gdstk.Label('VDD', (-2.915,5.685), layer=103, texttype=0))
gal_lfsr.add(gdstk.Label('VSS', (15.815,7.73), layer=103, texttype=0))

lib.write_gds('Gal_LFSR.gds')
